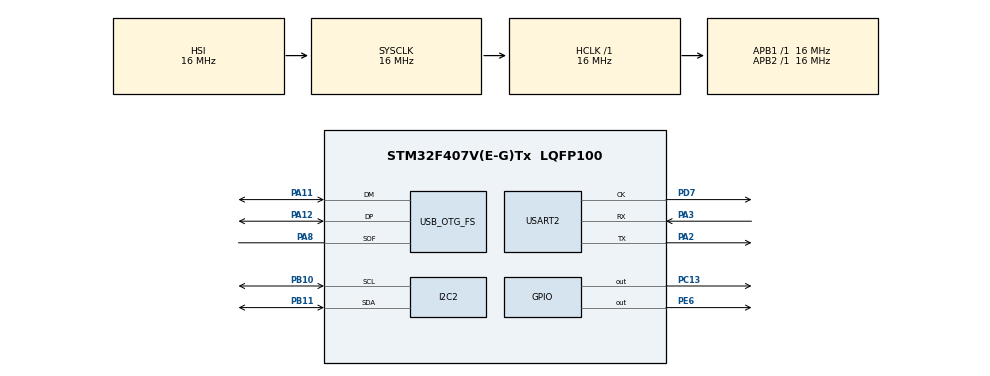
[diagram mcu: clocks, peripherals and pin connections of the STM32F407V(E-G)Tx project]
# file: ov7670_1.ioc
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Dma.I2C2_RX.0.Direction=DMA_PERIPH_TO_MEMORY
Dma.I2C2_RX.0.FIFOMode=DMA_FIFOMODE_DISABLE
Dma.I2C2_RX.0.Instance=DMA1_Stream2
Dma.I2C2_RX.0.MemDataAlignment=DMA_MDATAALIGN_BYTE
Dma.I2C2_RX.0.MemInc=DMA_MINC_ENABLE
Dma.I2C2_RX.0.Mode=DMA_CIRCULAR
Dma.I2C2_RX.0.PeriphDataAlignment=DMA_PDATAALIGN_BYTE
Dma.I2C2_RX.0.PeriphInc=DMA_PINC_DISABLE
Dma.I2C2_RX.0.Priority=DMA_PRIORITY_LOW
Dma.Request0=I2C2_RX
Mcu.Family=STM32F4
Mcu.Name=STM32F407V(E-G)Tx
Mcu.Package=LQFP100
NVIC.DMA1_Stream2_IRQn=true\:0\:0\:false\:false\:true\:false\:true\:true
NVIC.PriorityGroup=NVIC_PRIORITYGROUP_4
PA10.Signal=DCMI_D1
PA11.Mode=Device_Only
PA11.Signal=USB_OTG_FS_DM
PA12.Mode=Device_Only
PA12.Signal=USB_OTG_FS_DP
PA2.Mode=Synchronous
PA2.Signal=USART2_TX
PA3.Mode=Synchronous
PA3.Signal=USART2_RX
PA8.Mode=Activate_SOF_FS
PA8.Signal=USB_OTG_FS_SOF
PA9.Signal=DCMI_D0
PB10.Mode=I2C
PB10.Signal=I2C2_SCL
PB11.Mode=I2C
PB11.Signal=I2C2_SDA
PB8.Signal=DCMI_D6
PB9.Signal=DCMI_D7
PC11.Signal=DCMI_D4
PC13-ANTI_TAMP.Signal=GPIO_Output
PC8.Signal=DCMI_D2
PC9.Signal=DCMI_D3
PD7.Mode=Synchronous
PD7.Signal=USART2_CK
PE6.Signal=GPIO_Output
ProjectManager.HeapSize=0x200
ProjectManager.StackSize=0x400
ProjectManager.TargetToolchain=CMake
RCC.AHBFreq_Value=16000000
RCC.APB1Freq_Value=16000000
RCC.APB2Freq_Value=16000000
RCC.CortexFreq_Value=16000000
RCC.HSE_VALUE=25000000
RCC.HSI_VALUE=16000000
RCC.LSE_VALUE=32768
RCC.PLLSourceVirtualString=RCC_PLLSOURCE_HSI
RCC.RCC_MCO1Source=RCC_MCO1SOURCE_PLLCLK
RCC.RCC_MCODiv1=RCC_MCODIV_4
RCC.SYSCLKFreq_VALUE=16000000
RCC.VCOOutputFreq_Value=192000000
USART2.VirtualMode=VM_SYNC
USB_OTG_FS.VirtualMode=Device_Only
board=custom

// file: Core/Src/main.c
/* USER CODE BEGIN Header */
/**
  ******************************************************************************
  * @file           : main.c
  * @brief          : Main program body
  ******************************************************************************
  * @attention
  *
  * Copyright (c) 2025 STMicroelectronics.
  * All rights reserved.
  *
  * This software is licensed under terms that can be found in the LICENSE file
  * in the root directory of this software component.
  * If no LICENSE file comes with this software, it is provided AS-IS.
  *
  ******************************************************************************
  */
/* USER CODE END Header */

/* USER CODE BEGIN Includes */
#include "main.h"
#include "ov7670_regs.h"

/* USER CODE END Includes */

DCMI_HandleTypeDef hdcmi;

I2C_HandleTypeDef hi2c2;
DMA_HandleTypeDef hdma_i2c2_rx;
USART_HandleTypeDef husart2;

/* USER CODE BEGIN PV */
uint8_t frame_buffer[160 * 120 * 2 ];  // QVGA RGB565 buffer
volatile uint8_t frame_ready = 0;     // Frame capture flag
/* USER CODE END PV */

void SystemClock_Config(void);
static void MX_GPIO_Init(void);
static void MX_DMA_Init(void);
static void MX_DCMI_Init(void);
static void MX_I2C2_Init(void);
static void MX_USART2_Init(void);
/* USER CODE BEGIN PFP */
void Capture_Image(void);
void OV7670_Init(void);
/* USER CODE END PFP */

int main(void)
{

  /* MCU Configuration--------------------------------------------------------*/

  /* Reset of all peripherals, Initializes the Flash interface and the Systick. */
  HAL_Init();
  MX_USART2_Init();

  /* Configure the system clock */
  SystemClock_Config();

  /* Initialize all configured peripherals */
  MX_GPIO_Init();
  MX_DMA_Init();
  MX_DCMI_Init();
  MX_I2C2_Init();
  MX_USART2_Init();
  /* USER CODE BEGIN 2 */
// Initialize OV7670 with PE6 as PWDN
void OV7670_Init() ;{
  // Power up camera (PE6 = PWDN, active LOW)
  HAL_GPIO_WritePin(GPIOE, GPIO_PIN_6, GPIO_PIN_RESET);  // Deassert PWDN
  HAL_Delay(10);

  // Optional: Hardware reset (PC13)
  HAL_GPIO_WritePin(GPIOC, GPIO_PIN_13, GPIO_PIN_RESET);
  HAL_Delay(10);
  HAL_GPIO_WritePin(GPIOC, GPIO_PIN_13, GPIO_PIN_SET);
  HAL_Delay(10);

  // Configure OV7670 registers (QVGA RGB565)
  const uint8_t ov7670_config[][2] = {
    {REG_COM7, 0x0C},   // QVGA + RGB565
    {REG_CLKRC, 0x80},   // Internal clock
    {REG_COM15, 0xD0},   // RGB565
    {REG_SCALING_PCLK_DIV, 0xF1},  // ~20 FPS
    // Add more registers as needed
  };

  // Write config via I2C2 (SCCB)
  for (unsigned int i = 0; i < sizeof(ov7670_config)/sizeof(ov7670_config[0]); i++) {
    HAL_I2C_Mem_Write(&hi2c2, OV7670_ADDR, ov7670_config[i][0], 1,
                      (uint8_t *)&ov7670_config[i][1], 1, HAL_MAX_DELAY);
    HAL_Delay(1);
  }
}

// DCMI Frame Callback
void HAL_DCMI_FrameEventCallback(DCMI_HandleTypeDef *hdcmi);{
  frame_ready = 1;
}
/* USER CODE END 2 */

  /* Infinite loop */
  /* USER CODE BEGIN WHILE */
 // Main loop
while (1) {
  if (frame_ready) {
    frame_ready = 0;

    // Send the entire frame buffer over UART
    HAL_USART_Transmit(&husart2, frame_buffer, sizeof(frame_buffer), HAL_MAX_DELAY);
  }
  HAL_Delay(1);
}
    /* USER CODE END WHILE */

}

void SystemClock_Config(void)
{
  RCC_OscInitTypeDef RCC_OscInitStruct = {0};
  RCC_ClkInitTypeDef RCC_ClkInitStruct = {0};

  /** Configure the main internal regulator output voltage
  */
  __HAL_RCC_PWR_CLK_ENABLE();
  __HAL_PWR_VOLTAGESCALING_CONFIG(PWR_REGULATOR_VOLTAGE_SCALE1);

  /** Initializes the RCC Oscillators according to the specified parameters
  * in the RCC_OscInitTypeDef structure.
  */
  RCC_OscInitStruct.OscillatorType = RCC_OSCILLATORTYPE_HSI;
  RCC_OscInitStruct.HSIState = RCC_HSI_ON;
  RCC_OscInitStruct.HSICalibrationValue = RCC_HSICALIBRATION_DEFAULT;
  RCC_OscInitStruct.PLL.PLLState = RCC_PLL_ON;
  RCC_OscInitStruct.PLL.PLLSource = RCC_PLLSOURCE_HSI;
  RCC_OscInitStruct.PLL.PLLM = 16;
  RCC_OscInitStruct.PLL.PLLN = 192;
  RCC_OscInitStruct.PLL.PLLP = RCC_PLLP_DIV2;
  RCC_OscInitStruct.PLL.PLLQ = 4;
  if (HAL_RCC_OscConfig(&RCC_OscInitStruct) != HAL_OK)
  {
    Error_Handler();
  }

  /** Initializes the CPU, AHB and APB buses clocks
  */
  RCC_ClkInitStruct.ClockType = RCC_CLOCKTYPE_HCLK|RCC_CLOCKTYPE_SYSCLK
                              |RCC_CLOCKTYPE_PCLK1|RCC_CLOCKTYPE_PCLK2;
  RCC_ClkInitStruct.SYSCLKSource = RCC_SYSCLKSOURCE_HSI;
  RCC_ClkInitStruct.AHBCLKDivider = RCC_SYSCLK_DIV1;
  RCC_ClkInitStruct.APB1CLKDivider = RCC_HCLK_DIV1;
  RCC_ClkInitStruct.APB2CLKDivider = RCC_HCLK_DIV1;

  if (HAL_RCC_ClockConfig(&RCC_ClkInitStruct, FLASH_LATENCY_0) != HAL_OK)
  {
    Error_Handler();
  }
  HAL_RCC_MCOConfig(RCC_MCO1, RCC_MCO1SOURCE_PLLCLK, RCC_MCODIV_4);
}

static void MX_DCMI_Init(void)
{

  hdcmi.Instance = DCMI;
  hdcmi.Init.SynchroMode = DCMI_SYNCHRO_HARDWARE;
  hdcmi.Init.PCKPolarity = DCMI_PCKPOLARITY_FALLING;
  hdcmi.Init.VSPolarity = DCMI_VSPOLARITY_LOW;
  hdcmi.Init.HSPolarity = DCMI_HSPOLARITY_LOW;
  hdcmi.Init.CaptureRate = DCMI_CR_ALL_FRAME;
  hdcmi.Init.ExtendedDataMode = DCMI_EXTEND_DATA_8B;
  hdcmi.Init.JPEGMode = DCMI_JPEG_DISABLE;
  if (HAL_DCMI_Init(&hdcmi) != HAL_OK)
  {
    Error_Handler();
  }

}

static void MX_I2C2_Init(void)
{

  hi2c2.Instance = I2C2;
  hi2c2.Init.ClockSpeed = 100000;
  hi2c2.Init.DutyCycle = I2C_DUTYCYCLE_2;
  hi2c2.Init.OwnAddress1 = 0;
  hi2c2.Init.AddressingMode = I2C_ADDRESSINGMODE_7BIT;
  hi2c2.Init.DualAddressMode = I2C_DUALADDRESS_DISABLE;
  hi2c2.Init.OwnAddress2 = 0;
  hi2c2.Init.GeneralCallMode = I2C_GENERALCALL_DISABLE;
  hi2c2.Init.NoStretchMode = I2C_NOSTRETCH_DISABLE;
  if (HAL_I2C_Init(&hi2c2) != HAL_OK)
  {
    Error_Handler();
  }

}

static void MX_USART2_Init(void)
{

  husart2.Instance = USART2;
  husart2.Init.BaudRate = 115200;
  husart2.Init.WordLength = USART_WORDLENGTH_8B;
  husart2.Init.StopBits = USART_STOPBITS_1;
  husart2.Init.Parity = USART_PARITY_NONE;
  husart2.Init.Mode = USART_MODE_TX_RX;
  husart2.Init.CLKPolarity = USART_POLARITY_LOW;
  husart2.Init.CLKPhase = USART_PHASE_1EDGE;
  husart2.Init.CLKLastBit = USART_LASTBIT_DISABLE;
  if (HAL_USART_Init(&husart2) != HAL_OK)
  {
    Error_Handler();
  }

}

static void MX_DMA_Init(void)
{

  /* DMA controller clock enable */
  __HAL_RCC_DMA1_CLK_ENABLE();

  /* DMA interrupt init */
  /* DMA1_Stream2_IRQn interrupt configuration */
  HAL_NVIC_SetPriority(DMA1_Stream2_IRQn, 0, 0);
  HAL_NVIC_EnableIRQ(DMA1_Stream2_IRQn);

}

static void MX_GPIO_Init(void)
{
  GPIO_InitTypeDef GPIO_InitStruct = {0};

  /* GPIO Ports Clock Enable */
  __HAL_RCC_GPIOE_CLK_ENABLE();
  __HAL_RCC_GPIOC_CLK_ENABLE();
  __HAL_RCC_GPIOA_CLK_ENABLE();
  __HAL_RCC_GPIOB_CLK_ENABLE();
  __HAL_RCC_GPIOD_CLK_ENABLE();

  /*Configure GPIO pin Output Level */
  HAL_GPIO_WritePin(GPIOE, GPIO_PIN_6, GPIO_PIN_RESET);

  /*Configure GPIO pin Output Level */
  HAL_GPIO_WritePin(GPIOC, GPIO_PIN_13, GPIO_PIN_RESET);

  /*Configure GPIO pin : PE6 */
  GPIO_InitStruct.Pin = GPIO_PIN_6;
  GPIO_InitStruct.Mode = GPIO_MODE_OUTPUT_PP;
  GPIO_InitStruct.Pull = GPIO_NOPULL;
  GPIO_InitStruct.Speed = GPIO_SPEED_FREQ_LOW;
  HAL_GPIO_Init(GPIOE, &GPIO_InitStruct);

  /*Configure GPIO pin : PC13 */
  GPIO_InitStruct.Pin = GPIO_PIN_13;
  GPIO_InitStruct.Mode = GPIO_MODE_OUTPUT_PP;
  GPIO_InitStruct.Pull = GPIO_NOPULL;
  GPIO_InitStruct.Speed = GPIO_SPEED_FREQ_LOW;
  HAL_GPIO_Init(GPIOC, &GPIO_InitStruct);

  /*Configure GPIO pin : PA8 */
  GPIO_InitStruct.Pin = GPIO_PIN_8;
  GPIO_InitStruct.Mode = GPIO_MODE_AF_PP;
  GPIO_InitStruct.Pull = GPIO_NOPULL;
  GPIO_InitStruct.Speed = GPIO_SPEED_FREQ_LOW;
  GPIO_InitStruct.Alternate = GPIO_AF0_MCO;
  HAL_GPIO_Init(GPIOA, &GPIO_InitStruct);

}

/* USER CODE BEGIN 4 */
// Start DCMI capture in circular buffer mode
// Start continuous capture
void Start_Camera() {
  HAL_DCMI_Start_DMA(&hdcmi, DCMI_MODE_CONTINUOUS,
                    (uint32_t)frame_buffer, sizeof(frame_buffer)/4);
}
/* USER CODE END 4 */

void Error_Handler(void)
{
  __disable_irq();
  while (1)
  {
  }
}
